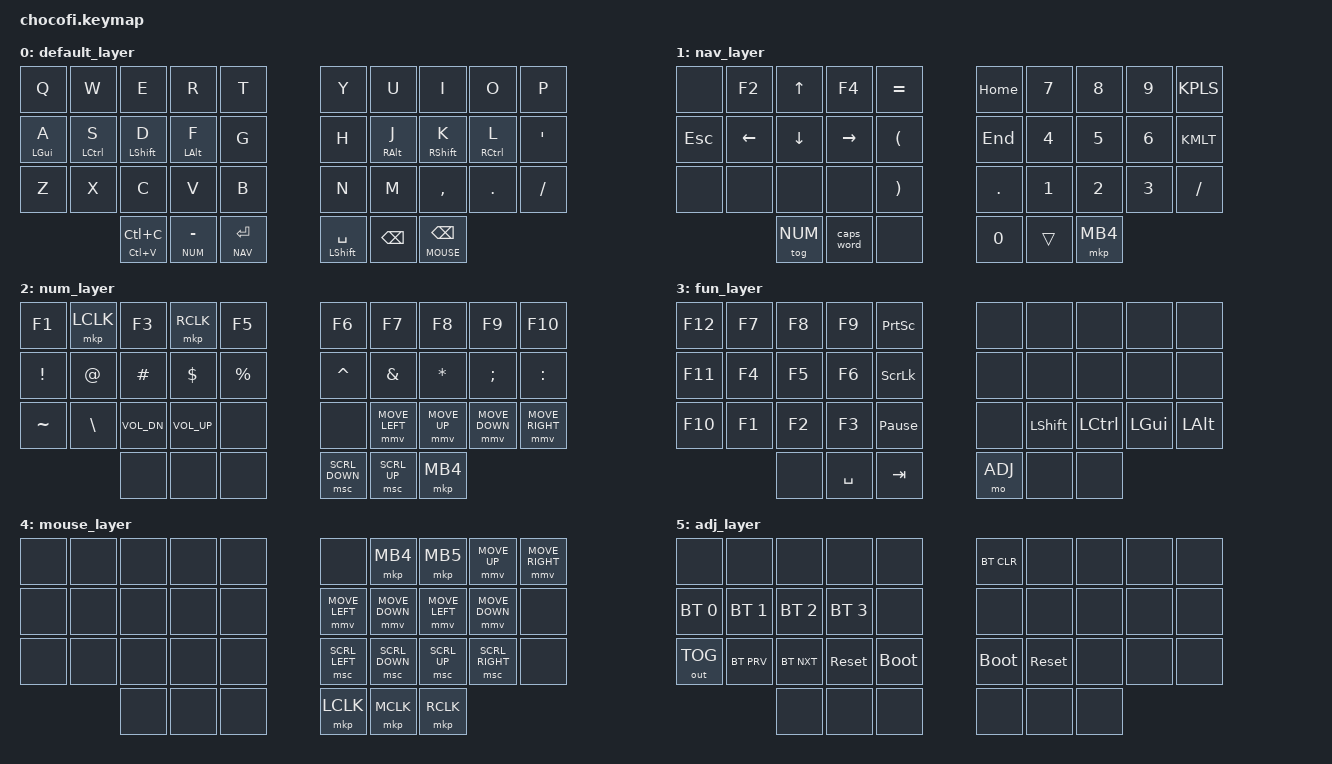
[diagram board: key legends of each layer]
/*
 * Copyright (c) 2020 The ZMK Contributors
 *
 * SPDX-License-Identifier: MIT
 */

#define ZMK_POINTING_DEFAULT_MOVE_VAL 2000  // default: 600
#define ZMK_POINTING_DEFAULT_SCRL_VAL 10    // default: 10

#include <behaviors.dtsi>
#include <dt-bindings/zmk/keys.h>
#include <dt-bindings/zmk/bt.h>
#include <dt-bindings/zmk/outputs.h>
#include <dt-bindings/zmk/pointing.h>

#define BASE 0
#define NAV 1
#define NUM 2
#define FUN 3
#define MOUSE 4
#define ADJ 5

&caps_word {
    continue-list = <UNDERSCORE MINUS BACKSPACE N0 N1 N2 N3 N4 N5 N6 N7 N8 N9>;
};

/ {
        combos {
              compatible = "zmk,combos";

              bootloader_combo {
                timeout-ms = <50>;
                bindings = <&bootloader>;
                key-positions = <0 1>;  // Replace with positions of the keys in your keymap
                layers = <0>;           // Layer where this combo is active
            };

            combo_esc {
            timeout-ms = <50>;
            key-positions = <7 8>;
            bindings = <&kp TAB>;
        };

            combo_tab {
            timeout-ms = <50>;
            key-positions = <1 2>;
            bindings = <&kp DEL>;
        };
        combo_lbkt {
            timeout-ms = <50>; 
            key-positions = <21 22>;
            bindings = <&kp LBKT>;
        };
         combo_rbkt {
            timeout-ms = <50>;
            key-positions = <27 28>;
            bindings = <&kp RBKT>;
        };

        
          };

        behaviors {
                hm: homerow_mods {
                        compatible = "zmk,behavior-hold-tap";
                        label = "HOMEROW_MODS";
                        #binding-cells = <2>;
                        tapping-term-ms = <220>;
                        quick_tap_ms = <0>;
                        flavor = "tap-preferred";
                        bindings = <&kp>, <&kp>;
                };
                mmv {
                    acceleration-exponent = <1>;      // 1
                };
                msc {
                    acceleration-exponent = <0>;      // 0
                };
        };

        keymap {
                compatible = "zmk,keymap";


                default_layer {
                        bindings = <
&kp Q       &kp W       &kp E          &kp R          &kp T     &kp Y        &kp U         &kp I            &kp O          &kp P
&hm LGUI A  &hm LCTRL S &hm LSHFT D    &hm LALT F     &kp G     &kp H        &hm RALT J    &hm RSHFT K      &hm RCTRL L    &kp QUOT
&kp Z       &kp X       &kp C          &kp V          &kp B     &kp N        &kp M         &kp COMMA        &kp DOT        &kp FSLH
                                     &hm LC(V) LC(C)  &lt NUM MINUS  &lt NAV RET      &hm LSHFT SPACE      &kp BSPC     &lt MOUSE BSPC
                        >;
                };
 
                nav_layer {
                        bindings = <
&none     &kp F2         &kp UP          &kp F4          &kp EQUAL          &kp HOME   &kp N7  &kp N8     &kp N9     &kp KPLS
&kp ESC   &kp LEFT       &kp DOWN        &kp RIGHT       &kp LPRN           &kp END    &kp N4  &kp N5     &kp N6     &kp KMLT
&none     &none          &none           &none           &kp RPRN           &kp DOT    &kp N1  &kp N2     &kp N3     &kp FSLH
                                &tog NUM          &caps_word          &none             &kp N0      &trans      &mkp MB4
                        >;
                };

                num_layer {
                        bindings = <
&kp F1    &mkp LCLK      &kp F3          &mkp RCLK       &kp F5             &kp F6     &kp F7   &kp F8     &kp F9     &kp F10
&kp EXCL   &kp AT         &kp HASH        &kp DOLLAR      &kp PRCNT          &kp CARET  &kp AMPS &kp ASTRK  &kp SEMI  &kp COLON
&kp TILDE &kp BSLH       &kp C_VOL_DN    &kp C_VOL_UP    &none              &none      &mmv MOVE_LEFT    &mmv MOVE_UP      &mmv MOVE_DOWN      &mmv MOVE_RIGHT
                                &none        &none         &none      &msc SCRL_DOWN   &msc SCRL_UP      &mkp MB4
                        >;
                };

                fun_layer {
                        bindings = <
&kp F12     &kp F7      &kp F8         &kp F9         &kp PSCRN         &none        &none         &none            &none          &none
&kp F11     &kp F4      &kp F5         &kp F6         &kp SLCK          &none        &none         &none            &none          &none
&kp F10     &kp F1      &kp F2         &kp F3         &kp PAUSE_BREAK   &none        &kp LSHFT     &kp LCTRL        &kp LGUI       &kp LALT
                                &none          &kp SPACE      &kp TAB           &mo ADJ      &none         &none
                        >;
                };

                mouse_layer {
                        bindings = <
&none     &none         &none          &none          &none             &none             &mkp MB4         &mkp MB5       &mmv MOVE_UP      &mmv MOVE_RIGHT
&none     &none         &none          &none          &none             &mmv MOVE_LEFT    &mmv MOVE_DOWN   &mmv MOVE_LEFT   &mmv MOVE_DOWN   &none
&none     &none         &none          &none          &none             &msc SCRL_LEFT    &msc SCRL_DOWN   &msc SCRL_UP   &msc SCRL_RIGHT   &none
                        &none          &none          &none             &mkp LCLK         &mkp MCLK        &mkp RCLK
                        >;
                };

                adj_layer {
                        bindings = <
&none         &none         &none         &none         &none   &bt BT_CLR   &none       &none   &none   &none
&bt BT_SEL 0  &bt BT_SEL 1  &bt BT_SEL 2  &bt BT_SEL 3  &none            &none        &none       &none   &none   &none
&out OUT_TOG  &bt BT_PRV    &bt BT_NXT    &sys_reset    &bootloader      &bootloader  &sys_reset  &none   &none   &none
                                    &none         &none         &none            &none        &none   &none
                        >;
                };
        };
};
